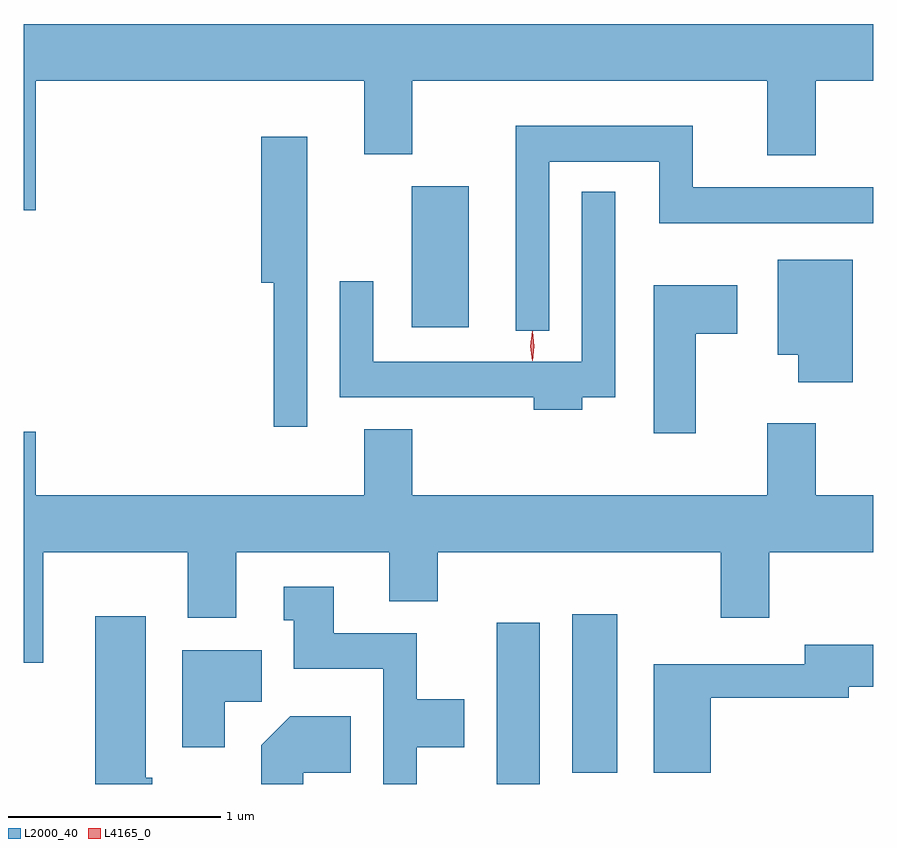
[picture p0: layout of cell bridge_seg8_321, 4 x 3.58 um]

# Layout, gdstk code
import gdstk
lib = gdstk.Library(unit=1e-6, precision=1e-09)
def R(c, l, rs):  # rectangles x0, y0, x1, y1
    for r in rs: c.add(gdstk.rectangle(r[:2], r[2:], *l))
def P(c, l, *ps):  # polygons
    for p in ps: c.add(gdstk.Polygon(p, *l))
L2000_40 = (2000, 40)
L4165_0 = (4165, 0)

bridge_seg8_321 = lib.new_cell('bridge_seg8_321')
R(bridge_seg8_321, L2000_40, [(936.796,1910.804,936.999,1911.564), (937.151,1910.856,937.364,1911.604), (936.396,1912.956,936.664,1913.619)])
P(bridge_seg8_321, L2000_40, [(934.624,1914.116),(936.171,1914.116),(936.171,1913.771),(936.399,1913.771),(936.399,1914.116),(938.071,1914.116),(938.071,1913.766),(938.299,1913.766),(938.299,1914.116),(938.569,1914.116),(938.569,1914.384),(934.569,1914.384),(934.569,1913.506),(934.624,1913.506)],
  [(937.044,1913.736),(937.561,1913.736),(937.561,1913.446),(938.569,1913.446),(938.569,1913.614),(937.719,1913.614),(937.719,1913.904),(936.886,1913.904),(936.886,1912.938),(937.044,1912.938)],
  [(935.904,1913.854),(935.686,1913.854),(935.686,1913.166),(935.746,1913.166),(935.746,1912.488),(935.904,1912.488)],
  [(937.199,1912.626),(937.354,1912.626),(937.354,1913.593),(937.196,1913.593),(937.196,1912.794),(936.214,1912.794),(936.214,1913.173),(936.056,1913.173),(936.056,1912.626),(936.971,1912.626),(936.971,1912.566),(937.199,1912.566)],
  [(938.474,1913.274),(938.121,1913.274),(938.121,1912.826),(938.216,1912.826),(938.216,1912.696),(938.474,1912.696)],
  [(937.734,1912.926),(937.929,1912.926),(937.929,1913.154),(937.536,1913.154),(937.536,1912.456),(937.734,1912.456)],
  [(934.659,1911.896),(935.341,1911.896),(935.341,1911.586),(935.569,1911.586),(935.569,1911.896),(936.291,1911.896),(936.291,1911.666),(936.519,1911.666),(936.519,1911.896),(937.851,1911.896),(937.851,1911.586),(938.079,1911.586),(938.079,1911.896),(938.569,1911.896),(938.569,1912.164),(938.299,1912.164),(938.299,1912.504),(938.071,1912.504),(938.071,1912.164),(936.399,1912.164),(936.399,1912.474),(936.171,1912.474),(936.171,1912.164),(934.624,1912.164),(934.624,1912.464),(934.569,1912.464),(934.569,1911.376),(934.659,1911.376)],
  [(936.419,1910.976),(936.644,1910.976),(936.644,1911.204),(936.419,1911.204),(936.419,1911.514),(936.029,1911.514),(936.029,1911.734),(935.793,1911.734),(935.793,1911.576),(935.841,1911.576),(935.841,1911.346),(936.261,1911.346),(936.261,1910.804),(936.419,1910.804)],
  [(935.174,1910.834),(935.144,1910.834),(935.144,1911.594),(934.906,1911.594),(934.906,1910.804),(935.174,1910.804)],
  [(937.804,1911.211),(938.454,1911.211),(938.454,1911.261),(938.569,1911.261),(938.569,1911.459),(938.246,1911.459),(938.246,1911.369),(937.536,1911.369),(937.536,1910.856),(937.804,1910.856)],
  [(935.514,1911.191),(935.689,1911.191),(935.689,1911.434),(935.316,1911.434),(935.316,1910.976),(935.514,1910.976)],
  [(935.884,1910.856),(936.109,1910.856),(936.109,1911.124),(935.824,1911.124),(935.686,1910.987),(935.686,1910.804),(935.884,1910.804)])
P(bridge_seg8_321, L4165_0, [(936.964,1912.797),(936.964,1912.798),(936.955,1912.867),(936.964,1912.936),(936.965,1912.936),(936.965,1912.936),(936.974,1912.866),(936.965,1912.798)])

lib.write_gds('bridge_seg8_321.gds')
